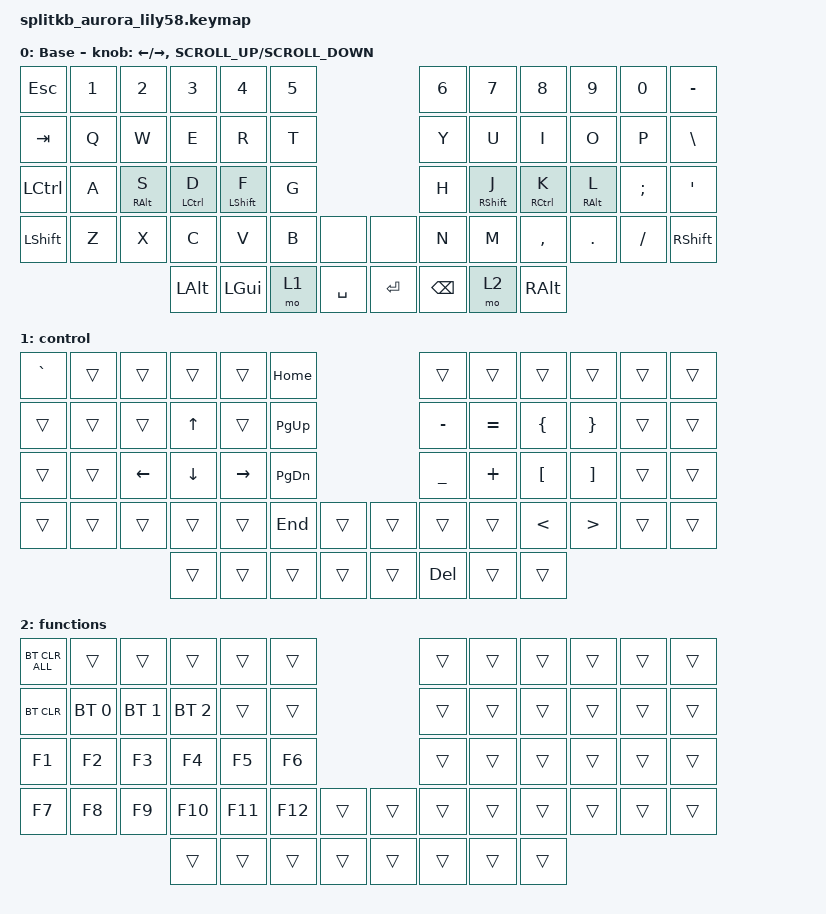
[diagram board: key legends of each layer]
/*
 * Copyright (c) 2020 The ZMK Contributors
 *
 * SPDX-License-Identifier: MIT
 */

#include <behaviors.dtsi>
#include <dt-bindings/zmk/bt.h>
#include <dt-bindings/zmk/keys.h>

/ {
    behaviors {
        mt_bl: mt_bl {
            compatible = "zmk,behavior-hold-tap";
            label = "MT_BL";
            bindings = <&kp>, <&kp>;

            #binding-cells = <2>;
            tapping-term-ms = <220>;
            flavor = "balanced";
            quick-tap-ms = <175>;
        };
    };

    keymap {
        compatible = "zmk,keymap";

        default_layer {
            // ------------------------------------------------------------------------------------------------------------
            // |  ESC  |  1  |  2  |  3   |  4   |  5   |                   |  6   |  7    |  8    |  9   |   0   |   `   |
            // |  TAB  |  Q  |  W  |  E   |  R   |  T   |                   |  Y   |  U    |  I    |  O   |   P   |   -   |
            // |  CTRL |  A  |  S  |  D   |  F   |  G   |                   |  H   |  J    |  K    |  L   |   ;   |   '   |
            // | SHIFT |  Z  |  X  |  C   |  V   |  B   |   "["  |  |  "]"  |  N   |  M    |  ,    |  .   |   /   | SHIFT |
            //                     | ALT  | GUI  | LOWER|  SPACE |  | ENTER | RAISE| BSPC  | GUI   |

            label = "Base";
            bindings = <
&kp ESC           &kp N1  &kp N2              &kp N3                 &kp N4               &kp N5                        &kp N6         &kp N7                &kp N8                  &kp N9              &kp N0    &kp MINUS
&kp TAB           &kp Q   &kp W               &kp E                  &kp R                &kp T                         &kp Y          &kp U                 &kp I                   &kp O               &kp P     &kp BACKSLASH
&kp LEFT_CONTROL  &kp A   &mt_bl RIGHT_ALT S  &mt_bl LEFT_CONTROL D  &mt_bl LEFT_SHIFT F  &kp G                         &kp H          &mt_bl RIGHT_SHIFT J  &mt_bl RIGHT_CONTROL K  &mt_bl RIGHT_ALT L  &kp SEMI  &kp SQT
&kp LEFT_SHIFT    &kp Z   &kp X               &kp C                  &kp V                &kp B   &none        &none    &kp N          &kp M                 &kp COMMA               &kp DOT             &kp FSLH  &kp RSHFT
                                              &kp LALT               &kp LGUI             &mo 1   &kp SPACE    &kp RET  &kp BACKSPACE  &mo 2                 &kp RIGHT_ALT
            >;

            sensor-bindings =
                <&inc_dec_kp LEFT RIGHT>,
                <&inc_dec_kp K_SCROLL_UP K_SCROLL_DOWN>;
        };

        control {
            bindings = <
&kp GRAVE  &trans  &trans          &trans          &trans           &kp HOME                         &trans      &trans     &trans            &trans             &trans  &trans
&trans     &trans  &trans          &kp UP_ARROW    &trans           &kp PAGE_UP                      &kp MINUS   &kp EQUAL  &kp LEFT_BRACE    &kp RIGHT_BRACE    &trans  &trans
&trans     &trans  &kp LEFT_ARROW  &kp DOWN_ARROW  &kp RIGHT_ARROW  &kp PAGE_DOWN                    &kp UNDER   &kp PLUS   &kp LEFT_BRACKET  &kp RIGHT_BRACKET  &trans  &trans
&trans     &trans  &trans          &trans          &trans           &kp END        &trans    &trans  &trans      &trans     &kp LESS_THAN     &kp GREATER_THAN   &trans  &trans
                                   &trans          &trans           &trans         &trans    &trans  &kp DELETE  &trans     &trans
            >;
        };

        functions {
            bindings = <
&bt BT_CLR_ALL  &trans        &trans        &trans        &trans   &trans                     &trans  &trans  &trans  &trans  &trans  &trans
&bt BT_CLR      &bt BT_SEL 0  &bt BT_SEL 1  &bt BT_SEL 2  &trans   &trans                     &trans  &trans  &trans  &trans  &trans  &trans
&kp F1          &kp F2        &kp F3        &kp F4        &kp F5   &kp F6                     &trans  &trans  &trans  &trans  &trans  &trans
&kp F7          &kp F8        &kp F9        &kp F10       &kp F11  &kp F12  &trans    &trans  &trans  &trans  &trans  &trans  &trans  &trans
                                            &trans        &trans   &trans   &trans    &trans  &trans  &trans  &trans
            >;
        };
    };
};
